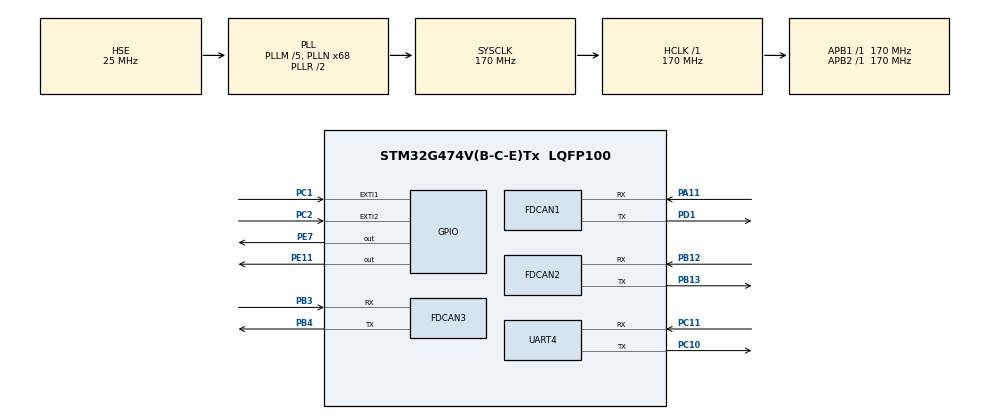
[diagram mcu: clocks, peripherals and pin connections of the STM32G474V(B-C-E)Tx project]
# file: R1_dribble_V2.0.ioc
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FDCAN1.CalculateBaudRateNominal=999999
FDCAN1.CalculateTimeBitNominal=1000
FDCAN1.CalculateTimeQuantumNominal=29.411764705882355
FDCAN1.DataPrescaler=8
FDCAN1.DataSyncJumpWidth=5
FDCAN1.DataTimeSeg1=25
FDCAN1.DataTimeSeg2=8
FDCAN1.NominalPrescaler=5
FDCAN1.NominalSyncJumpWidth=5
FDCAN1.NominalTimeSeg1=25
FDCAN1.NominalTimeSeg2=8
FDCAN1.StdFiltersNbr=1
FDCAN2.CalculateBaudRateNominal=999999
FDCAN2.CalculateTimeBitNominal=1000
FDCAN2.CalculateTimeQuantumNominal=29.411764705882355
FDCAN2.DataPrescaler=8
FDCAN2.DataSyncJumpWidth=5
FDCAN2.DataTimeSeg1=25
FDCAN2.DataTimeSeg2=8
FDCAN2.NominalPrescaler=5
FDCAN2.NominalSyncJumpWidth=5
FDCAN2.NominalTimeSeg1=25
FDCAN2.NominalTimeSeg2=8
FDCAN2.StdFiltersNbr=1
FDCAN3.CalculateBaudRateNominal=999999
FDCAN3.CalculateTimeBitNominal=1000
FDCAN3.CalculateTimeQuantumNominal=29.411764705882355
FDCAN3.DataPrescaler=8
FDCAN3.DataSyncJumpWidth=5
FDCAN3.DataTimeSeg1=25
FDCAN3.DataTimeSeg2=8
FDCAN3.NominalPrescaler=5
FDCAN3.NominalSyncJumpWidth=5
FDCAN3.NominalTimeSeg1=25
FDCAN3.NominalTimeSeg2=8
FDCAN3.StdFiltersNbr=1
Mcu.Family=STM32G4
Mcu.Name=STM32G474V(B-C-E)Tx
Mcu.Package=LQFP100
NVIC.EXTI1_IRQn=true\:0\:0\:false\:false\:true\:true\:true\:true
NVIC.EXTI2_IRQn=true\:0\:0\:false\:false\:true\:true\:true\:true
NVIC.FDCAN1_IT0_IRQn=true\:0\:0\:false\:false\:true\:true\:true\:true
NVIC.FDCAN2_IT0_IRQn=true\:0\:0\:false\:false\:true\:true\:true\:true
NVIC.FDCAN3_IT0_IRQn=true\:0\:0\:false\:false\:true\:true\:true\:true
NVIC.PriorityGroup=NVIC_PRIORITYGROUP_4
NVIC.TIM4_IRQn=true\:0\:0\:false\:false\:true\:true\:true\:true
NVIC.TIM5_IRQn=true\:0\:0\:false\:false\:true\:true\:true\:true
NVIC.TIM6_DAC_IRQn=true\:0\:0\:false\:false\:true\:true\:true\:true
NVIC.TIM7_DAC_IRQn=true\:0\:0\:false\:false\:true\:true\:true\:true
NVIC.UART4_IRQn=true\:0\:0\:false\:false\:true\:true\:true\:true
PA11.Mode=FDCAN_Activate
PA11.Signal=FDCAN1_RX
PA13.Mode=Serial_Wire
PA13.Signal=SYS_JTMS-SWDIO
PA14.Mode=Serial_Wire
PA14.Signal=SYS_JTCK-SWCLK
PB12.Mode=FDCAN_Activate
PB12.Signal=FDCAN2_RX
PB13.Mode=FDCAN_Activate
PB13.Signal=FDCAN2_TX
PB3.Mode=FDCAN_Activate
PB3.Signal=FDCAN3_RX
PB4.Mode=FDCAN_Activate
PB4.Signal=FDCAN3_TX
PC1.GPIO_PuPd=GPIO_PULLUP
PC1.Signal=GPXTI1
PC10.Mode=Asynchronous
PC10.Signal=UART4_TX
PC11.Mode=Asynchronous
PC11.Signal=UART4_RX
PC14-OSC32_IN.Mode=LSE-External-Oscillator
PC14-OSC32_IN.Signal=RCC_OSC32_IN
PC15-OSC32_OUT.Mode=LSE-External-Oscillator
PC15-OSC32_OUT.Signal=RCC_OSC32_OUT
PC2.GPIO_PuPd=GPIO_PULLUP
PC2.Signal=GPXTI2
PD1.Mode=FDCAN_Activate
PD1.Signal=FDCAN1_TX
PE11.GPIO_PuPd=GPIO_PULLDOWN
PE11.Signal=GPIO_Output
PE7.GPIO_PuPd=GPIO_PULLDOWN
PE7.Signal=GPIO_Output
PF0-OSC_IN.Mode=HSE-External-Oscillator
PF0-OSC_IN.Signal=RCC_OSC_IN
PF1-OSC_OUT.Mode=HSE-External-Oscillator
PF1-OSC_OUT.Signal=RCC_OSC_OUT
ProjectManager.HeapSize=0x200
ProjectManager.StackSize=0x400
ProjectManager.TargetToolchain=MDK-ARM V5.32
RCC.ADC12Freq_Value=170000000
RCC.ADC345Freq_Value=170000000
RCC.AHBFreq_Value=170000000
RCC.APB1Freq_Value=170000000
RCC.APB1TimFreq_Value=170000000
RCC.APB2Freq_Value=170000000
RCC.APB2TimFreq_Value=170000000
RCC.CortexFreq_Value=170000000
RCC.EXTERNAL_CLOCK_VALUE=12288000
RCC.HCLKFreq_Value=170000000
RCC.HSE_VALUE=25000000
RCC.HSI48_VALUE=48000000
RCC.HSI_VALUE=16000000
RCC.PLLM=RCC_PLLM_DIV5
RCC.PLLN=68
RCC.PLLSourceVirtual=RCC_PLLSOURCE_HSE
RCC.SYSCLKFreq_VALUE=170000000
RCC.SYSCLKSource=RCC_SYSCLKSOURCE_PLLCLK
RCC.USBFreq_Value=170000000
RCC.VCOOutputFreq_Value=340000000
TIM4.PeriodNoDither=9999
TIM4.Prescaler=169
TIM5.PeriodNoDither=999
TIM5.Prescaler=169
TIM6.PeriodNoDither=999
TIM6.Prescaler=169
TIM7.PeriodNoDither=999
TIM7.Prescaler=169
VP_SYS_VS_DBSignals.Mode=DisableDeadBatterySignals
VP_TIM4_VS_ClockSourceINT.Mode=Internal
VP_TIM5_VS_ClockSourceINT.Mode=Internal
VP_TIM6_VS_ClockSourceINT.Mode=Enable_Timer
VP_TIM7_VS_ClockSourceINT.Mode=Enable_Timer
board=custom

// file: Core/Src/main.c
/* USER CODE BEGIN Header */
/**
 ******************************************************************************
 * @file           : main.c
 * @brief          : Main program body
 ******************************************************************************
 * @attention
 *
 * Copyright (c) 2024 STMicroelectronics.
 * All rights reserved.
 *
 * This software is licensed under terms that can be found in the LICENSE file
 * in the root directory of this software component.
 * If no LICENSE file comes with this software, it is provided AS-IS.
 *
 ******************************************************************************
 */
/* USER CODE END Header */
#include "main.h"
#include "fdcan.h"
#include "tim.h"
#include "usart.h"
#include "gpio.h"

/* USER CODE BEGIN Includes */
#include "fdcan_bsp.h"
#include "rm2006.h"
#include "encoder.h"
#include "door_control.h"
#include "elev_control.h"
/* USER CODE END Includes */

void SystemClock_Config(void);

/* USER CODE BEGIN 0 */
FDCAN_RxHeaderTypeDef RxMessage;
/* USER CODE END 0 */

int main(void)
{

  /* MCU Configuration--------------------------------------------------------*/

  /* Reset of all peripherals, Initializes the Flash interface and the Systick. */
  HAL_Init();

  /* Configure the system clock */
  SystemClock_Config();

  /* Initialize all configured peripherals */
  MX_GPIO_Init();
  MX_FDCAN1_Init();
  MX_FDCAN2_Init();
  MX_FDCAN3_Init();
  MX_TIM5_Init();
  MX_TIM6_Init();
  MX_TIM7_Init();
  MX_UART4_Init();
  MX_TIM4_Init();
  /* USER CODE BEGIN 2 */
  FDCAN1_Init(&hfdcan1);
  FDCAN2_Init(&hfdcan2);
  FDCAN3_Init(&hfdcan3);
	HAL_TIM_Base_Start_IT(&htim4);
  HAL_TIM_Base_Start_IT(&htim5);
  HAL_TIM_Base_Start_IT(&htim6);
  HAL_TIM_Base_Start_IT(&htim7);
	Enc_Init();
  /* USER CODE END 2 */

  /* Infinite loop */
  /* USER CODE BEGIN WHILE */
  while (1)
  {
    Realtime();
    Door_Act_Set();
    Elev_State_Set();
		HAL_Delay(0);
    /* USER CODE END WHILE */

  }
}

void SystemClock_Config(void)
{
  RCC_OscInitTypeDef RCC_OscInitStruct = {0};
  RCC_ClkInitTypeDef RCC_ClkInitStruct = {0};

  /** Configure the main internal regulator output voltage
  */
  HAL_PWREx_ControlVoltageScaling(PWR_REGULATOR_VOLTAGE_SCALE1_BOOST);

  /** Initializes the RCC Oscillators according to the specified parameters
  * in the RCC_OscInitTypeDef structure.
  */
  RCC_OscInitStruct.OscillatorType = RCC_OSCILLATORTYPE_HSE;
  RCC_OscInitStruct.HSEState = RCC_HSE_ON;
  RCC_OscInitStruct.PLL.PLLState = RCC_PLL_ON;
  RCC_OscInitStruct.PLL.PLLSource = RCC_PLLSOURCE_HSE;
  RCC_OscInitStruct.PLL.PLLM = RCC_PLLM_DIV5;
  RCC_OscInitStruct.PLL.PLLN = 68;
  RCC_OscInitStruct.PLL.PLLP = RCC_PLLP_DIV2;
  RCC_OscInitStruct.PLL.PLLQ = RCC_PLLQ_DIV2;
  RCC_OscInitStruct.PLL.PLLR = RCC_PLLR_DIV2;
  if (HAL_RCC_OscConfig(&RCC_OscInitStruct) != HAL_OK)
  {
    Error_Handler();
  }

  /** Initializes the CPU, AHB and APB buses clocks
  */
  RCC_ClkInitStruct.ClockType = RCC_CLOCKTYPE_HCLK|RCC_CLOCKTYPE_SYSCLK
                              |RCC_CLOCKTYPE_PCLK1|RCC_CLOCKTYPE_PCLK2;
  RCC_ClkInitStruct.SYSCLKSource = RCC_SYSCLKSOURCE_PLLCLK;
  RCC_ClkInitStruct.AHBCLKDivider = RCC_SYSCLK_DIV1;
  RCC_ClkInitStruct.APB1CLKDivider = RCC_HCLK_DIV1;
  RCC_ClkInitStruct.APB2CLKDivider = RCC_HCLK_DIV1;

  if (HAL_RCC_ClockConfig(&RCC_ClkInitStruct, FLASH_LATENCY_4) != HAL_OK)
  {
    Error_Handler();
  }
}

/* USER CODE BEGIN 4 */
void HAL_GPIO_EXTI_Callback(uint16_t GPIO_Pin)
{
  if (GPIO_Pin == GPIO_PIN_1 || GPIO_Pin == GPIO_PIN_2)
  {
    falling_count++;
  }
}
void HAL_FDCAN_RxFifo0Callback(FDCAN_HandleTypeDef *hfdcan, uint32_t RxFifo0ITs)
{
  uint8_t RxData[8] = {0};
  if (hfdcan == &hfdcan1)
  {
		HAL_FDCAN_GetRxMessage(&hfdcan1, FDCAN_RX_FIFO0, &RxMessage, RxData);
		if (RxMessage.Identifier == 0x202)
		{
			dribble_begin_flag = 1;
			flag_set_count = 1;
		}
		if (RxMessage.Identifier == 0x203)
		{
			dribble_begin_flag = -1;
		}
		if (RxMessage.Identifier == 0x204)
		{
			dribble_begin_flag = 0;
		}
  }
  if (hfdcan == &hfdcan3)
  {
		HAL_FDCAN_GetRxMessage(&hfdcan3, FDCAN_RX_FIFO0, &RxMessage, RxData);
    if (RxMessage.Identifier == 0x201 || RxMessage.Identifier == 0x202)
    {
      RM2006_Get_Feedback(RxMessage.Identifier, RxData);
    }
    if (RxMessage.Identifier == 0x01 || RxMessage.Identifier == 0x02)
    {
      Enc_Get_Feedback(RxMessage.Identifier, RxData);
    }
  }
}
void HAL_FDCAN_RxFifo1Callback(FDCAN_HandleTypeDef *hfdcan, uint32_t RxFifo1ITs)
{
	uint8_t RxData[8] = {0};
	if (hfdcan == &hfdcan2)
  {
    HAL_FDCAN_GetRxMessage(&hfdcan2, FDCAN_RX_FIFO1, &RxMessage, RxData);
    if (RxMessage.Identifier == 0x203 || RxMessage.Identifier == 0x204)
    {
      RM2006_Get_Feedback(RxMessage.Identifier, RxData);
    }
    if (RxMessage.Identifier == 0x03 || RxMessage.Identifier == 0x04)
    {
      Enc_Get_Feedback(RxMessage.Identifier, RxData);
    }
  }
}
void HAL_TIM_PeriodElapsedCallback(TIM_HandleTypeDef *htim)
{
	if(htim == &htim4)
	{
		elev_status_judge();
	}
  if(htim == &htim5)
  {
    Door_ACT();
		dribble_set();
  }
  if(htim == &htim6)
	{
		Set_Elev_Pos();
    Elev_State_Send();
	}
  if(htim == &htim7)
  {
    Elev_Enc_Calulate();
    Door_Enc_Calulate();
  }
}

/* USER CODE END 4 */

void Error_Handler(void)
{
  __disable_irq();
  while (1)
  {
  }
}
